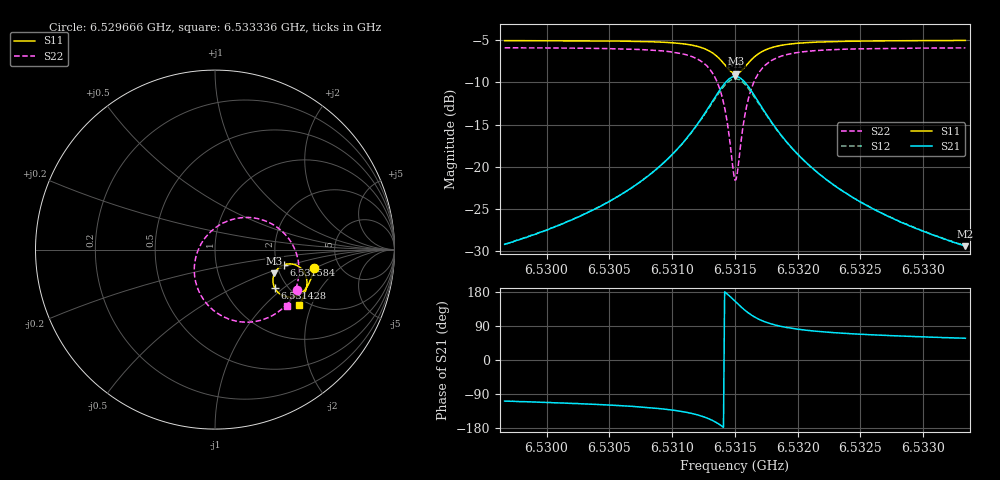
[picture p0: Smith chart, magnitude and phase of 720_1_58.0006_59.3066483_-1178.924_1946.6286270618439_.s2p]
#  HZ  S  RI  R  50.00
! Rohde & Schwarz Vector Network Analyzer
! Rohde-Schwarz,ZNB20-2Port,1311601062101988,3.16
! Created: UTC 3/21/2024, 1:22:38 AM
! freq[Hz]  re:S11  im:S11  re:S21  im:S21  re:S12  im:S12  re:S22  im:S22
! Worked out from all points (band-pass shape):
!   401 points, 6.529666 GHz to 6.533336 GHz, reference 50 ohm
!   highest |S21| = -9.27 dB at 6.531501 GHz (marker M1); lowest = -29.4 dB at 6.533336 GHz (marker M2)
!   |S21| within 3 dB of the highest: 6.53132 GHz to 6.531686 GHz (366.1 kHz wide, 0.00561 % of centre)
!   lowest |S11| = -8.9 dB at 6.53151 GHz (marker M3), VSWR 2.11, Z = 93.8 - j28.6 ohm
!   |S11| at or under -10 dB: nowhere
!   |S22| runs from -21.6 to -5.9 dB; largest |S21 - S12| = 0.014
!   S11 on the Smith chart (normalised r, x): 6.529666 GHz: 3.22, -0.98; 6.531428 GHz: 1.72, -0.88; 6.531584 GHz: 2.19, -0.44; 6.533336 GHz: 1.81, -1.64
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6.5296662e9  0.5502 -0.1045  -0.0109 -0.0329  -0.0116 -0.0327  0.4566 -0.2226
6.5302809e9  0.5366 -0.1565  -0.0223 -0.0464  -0.0234 -0.046  0.4199 -0.2806
6.5306295e9  0.5225 -0.1901  -0.037 -0.0607  -0.0386 -0.0598  0.3813 -0.3228
6.5308955e9  0.5035 -0.2203  -0.0615 -0.0785  -0.0639 -0.0766  0.3263 -0.3637
6.5311065e9  0.4728 -0.2486  -0.1066 -0.0975  -0.1096 -0.0937  0.236 -0.3983
6.5312716e9  0.42 -0.2653  -0.1893 -0.0994  -0.1908 -0.0911  0.0871 -0.3904
6.5313634e9  0.3694 -0.2525  -0.2668 -0.0607  -0.2636 -0.0494  -0.0389 -0.3098
6.5314001e9  0.3474 -0.2349  -0.2987 -0.024  -0.2923 -0.0127  -0.0851 -0.2422
6.5314276e9  0.3334 -0.215  -0.3175 0.0139  -0.3082 0.0242  -0.1087 -0.1755
6.5314826e9  0.3234 -0.1614  -0.3232 0.1105  -0.31 0.1154  -0.0993 -0.0165
6.531501e9  0.3276 -0.1423  -0.3124 0.1436  -0.2989 0.146  -0.0753 0.0353
6.5315102e9  0.3313 -0.1331  -0.3044 0.1593  -0.2911 0.1605  -0.0596 0.0594
6.5315285e9  0.3412 -0.1163  -0.2843 0.1877  -0.2719 0.1867  -0.0218 0.1016
6.5315836e9  0.3848 -0.0846  -0.2041 0.24  -0.196 0.2353  0.1184 0.1734
6.5316111e9  0.4082 -0.0796  -0.1631 0.2475  -0.1572 0.2427  0.1876 0.1791
6.5316478e9  0.4357 -0.0814  -0.1156 0.2441  -0.1118 0.2398  0.2666 0.1647
6.5317395e9  0.4806 -0.1055  -0.0392 0.2071  -0.0377 0.2049  0.3897 0.0862
6.5318771e9  0.5062 -0.1455  0.00515 0.1512  0.00634 0.1503  0.4545 -0.0246
6.5321156e9  0.5121 -0.1931  0.0223 0.0959  0.0235 0.0955  0.4673 -0.1369
6.5323633e9  0.5065 -0.2258  0.0237 0.0673  0.0247 0.0669  0.4559 -0.2002
6.5327303e9  0.4936 -0.2621  0.0217 0.0456  0.0226 0.0452  0.4338 -0.2564
6.5333358e9  0.469 -0.3088  0.0182 0.0285  0.0188 0.0282  0.3984 -0.3139
